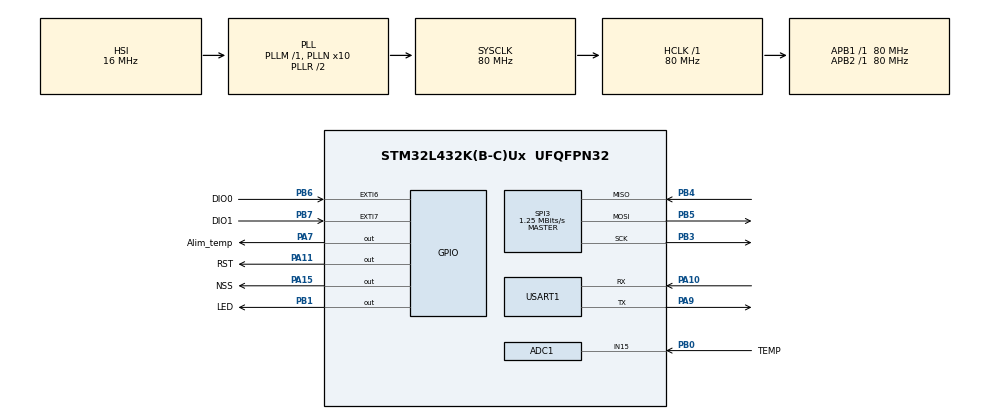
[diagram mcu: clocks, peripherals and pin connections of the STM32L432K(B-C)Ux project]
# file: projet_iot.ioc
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ADC1.Channel-0\#ChannelRegularConversion=ADC_CHANNEL_15
ADC1.NbrOfConversionFlag=1
ADC1.OffsetNumber-0\#ChannelRegularConversion=ADC_OFFSET_NONE
ADC1.Rank-0\#ChannelRegularConversion=1
ADC1.SamplingTime-0\#ChannelRegularConversion=ADC_SAMPLETIME_640CYCLES_5
ADC1.master=1
Mcu.Family=STM32L4
Mcu.Name=STM32L432K(B-C)Ux
Mcu.Package=UFQFPN32
NVIC.ADC1_IRQn=true\:0\:0\:false\:false\:true\:true\:true\:true
NVIC.EXTI9_5_IRQn=true\:0\:0\:false\:false\:true\:true\:true\:true
NVIC.PriorityGroup=NVIC_PRIORITYGROUP_4
NVIC.TIM7_IRQn=true\:0\:0\:false\:false\:true\:true\:true\:true
PA10.Mode=Asynchronous
PA10.Signal=USART1_RX
PA11.GPIO_Label=RST
PA11.Signal=GPIO_Output
PA13\ (JTMS-SWDIO).Mode=Serial_Wire
PA13\ (JTMS-SWDIO).Signal=SYS_JTMS-SWDIO
PA14\ (JTCK-SWCLK).Mode=Serial_Wire
PA14\ (JTCK-SWCLK).Signal=SYS_JTCK-SWCLK
PA15\ (JTDI).GPIO_Label=NSS
PA15\ (JTDI).Signal=GPIO_Output
PA7.GPIO_Label=Alim_temp
PA7.PinState=GPIO_PIN_SET
PA7.Signal=GPIO_Output
PA9.Mode=Asynchronous
PA9.Signal=USART1_TX
PB0.GPIO_Label=TEMP
PB0.Signal=ADCx_IN15
PB1.GPIO_Label=LED
PB1.Signal=GPIO_Output
PB3\ (JTDO-TRACESWO).Mode=Full_Duplex_Master
PB3\ (JTDO-TRACESWO).Signal=SPI3_SCK
PB4\ (NJTRST).Mode=Full_Duplex_Master
PB4\ (NJTRST).Signal=SPI3_MISO
PB5.Mode=Full_Duplex_Master
PB5.Signal=SPI3_MOSI
PB6.GPIO_Label=DIO0
PB6.Signal=GPXTI6
PB7.GPIO_Label=DIO1
PB7.Signal=GPXTI7
PC14-OSC32_IN\ (PC14).Mode=LSE-External-Oscillator
PC14-OSC32_IN\ (PC14).Signal=RCC_OSC32_IN
PC15-OSC32_OUT\ (PC15).Mode=LSE-External-Oscillator
PC15-OSC32_OUT\ (PC15).Signal=RCC_OSC32_OUT
ProjectManager.HeapSize=0x200
ProjectManager.StackSize=0x400
ProjectManager.TargetToolchain=STM32CubeIDE
RCC.ADCFreq_Value=64000000
RCC.AHBFreq_Value=80000000
RCC.APB1Freq_Value=80000000
RCC.APB1TimFreq_Value=80000000
RCC.APB2Freq_Value=80000000
RCC.APB2TimFreq_Value=80000000
RCC.CortexFreq_Value=80000000
RCC.HCLKFreq_Value=80000000
RCC.HSE_VALUE=8000000
RCC.HSI48_VALUE=48000000
RCC.HSI_VALUE=16000000
RCC.MSI_VALUE=4000000
RCC.PLLN=10
RCC.PLLSourceVirtual=RCC_PLLSOURCE_HSI
RCC.SYSCLKFreq_VALUE=80000000
RCC.SYSCLKSource=RCC_SYSCLKSOURCE_PLLCLK
RCC.USBFreq_Value=64000000
RCC.VCOOutputFreq_Value=160000000
SH.ADCx_IN15.0=ADC1_IN15,IN15-Single-Ended
SPI3.BaudRatePrescaler=SPI_BAUDRATEPRESCALER_64
SPI3.CalculateBaudRate=1.25 MBits/s
SPI3.DataSize=SPI_DATASIZE_8BIT
SPI3.Direction=SPI_DIRECTION_2LINES
SPI3.Mode=SPI_MODE_MASTER
SPI3.VirtualType=VM_MASTER
TIM7.Period=65535
TIM7.Prescaler=2500-1
USART1.VirtualMode-Asynchronous=VM_ASYNC
VP_TIM7_VS_ClockSourceINT.Mode=Enable_Timer
board=custom

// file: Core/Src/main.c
/* USER CODE BEGIN Header */
/**
 ******************************************************************************
 * @file           : main.c
 * @brief          : Main program body
 ******************************************************************************
 * @attention
 *
 * Copyright (c) 2024 STMicroelectronics.
 * All rights reserved.
 *
 * This software is licensed under terms that can be found in the LICENSE file
 * in the root directory of this software component.
 * If no LICENSE file comes with this software, it is provided AS-IS.
 *
 ******************************************************************************
 */
/* USER CODE END Header */
#include "main.h"
#include "adc.h"
#include "spi.h"
#include "tim.h"
#include "usart.h"
#include "gpio.h"

/* USER CODE BEGIN Includes */
#include "hal.h"
#include "oslmic.h"
#include "lmic.h"
#include "lorabase.h"
#include "cayenne_lpp.h"
#include "debug.h"
/* USER CODE END Includes */

/* USER CODE BEGIN PD */
#define ADC_MAX_RESOLUTION 4095 // Résolution maximale de l'ADC (12 bits)
#define ADC_VREF_MV 3300       // Référence de tension (en mV)
/* USER CODE END PD */

/* USER CODE BEGIN PV */
u2_t val;
uint32_t adc_val = 0;
// application router ID (LSBF) < ------- IMPORTANT
static const u1_t APPEUI[8] = {0x00, 0x00, 0x00, 0x00, 0x00, 0x00, 0x00, 0x00} ;
// unique device ID (LSBF) < ------- IMPORTANT
static const u1_t DEVEUI[8] = {0xFB, 0xC8, 0x06, 0xD0, 0x7E, 0xD5, 0xB3, 0x70};
// device-specific AES key (derived from device EUI (MSBF))
static const u1_t DEVKEY[16] = {0x79, 0xA9, 0xBA, 0x00, 0x1C, 0xA3, 0x83, 0x85, 0x8F, 0x6F, 0x0C, 0x9C, 0x3F, 0x3A, 0xFB, 0x0C};
/* USER CODE END PV */

void SystemClock_Config(void);
/* USER CODE BEGIN PFP */
uint32_t get_ADC_value(ADC_HandleTypeDef hadc1, uint32_t channel);
double GET_temperature( uint32_t ADC_value, double VDD);
/* USER CODE END PFP */

/* USER CODE BEGIN 0 */

/* USER CODE BEGIN 0 */
// provide application router ID (8 bytes, LSBF)
void os_getArtEui (u1_t* buf) {
	memcpy(buf, APPEUI, 8);
}
// provide device ID (8 bytes, LSBF)
void os_getDevEui (u1_t* buf) {
	memcpy(buf, DEVEUI, 8);
}
// provide device key (16 bytes)
void os_getDevKey (u1_t* buf) {
	memcpy(buf, DEVKEY, 16);
}
void initsensor(){
	// Here you init your sensors
}

void initfunc (osjob_t* j) {
	// intialize sensor hardware
	initsensor();
	// reset MAC state
	LMIC_reset();
	// start joining
	LMIC_startJoining();
	// init done - onEvent() callback will be invoked...
}

static osjob_t reportjob;
// report sensor value every minute
static void reportfunc(osjob_t* j) {

    //uint16_t voltage_mv = (uint16_t)(voltage * 1000); // Convert to millivolts
    //LMIC.frame[0] = (voltage_mv >> 8) & 0xFF;        // Octet supérieur
    //LMIC.frame[1] = voltage_mv & 0xFF;               // Octet inférieur

    //LMIC_setTxData2(1, LMIC.frame, 2, 0);            // Transmit via LoRa
    //os_setTimedCallback(j, os_getTime() + sec2osticks(15), reportfunc);

	double temperature_sensor_val = 25.0;
	cayenne_lpp_t lpp = { 0 };

	HAL_GPIO_WritePin(Alim_temp_GPIO_Port, Alim_temp_Pin, GPIO_PIN_SET);
	HAL_Delay(100);

	temperature_sensor_val = GET_temperature(get_ADC_value(hadc1, ADC_CHANNEL_15), ADC_VREF_MV);

	debug_valfloat("Temperature Sensor value = ", temperature_sensor_val, 6);

	HAL_GPIO_WritePin(Alim_temp_GPIO_Port, Alim_temp_Pin, GPIO_PIN_RESET);
	HAL_Delay(100);

	cayenne_lpp_reset(&lpp);
	cayenne_lpp_add_temperature(&lpp, 0, temperature_sensor_val);

	LMIC_setTxData2(1, &lpp, 4, 0);

	os_setTimedCallback(j, os_getTime()+sec2osticks(10), reportfunc);

}

uint32_t get_ADC_value(ADC_HandleTypeDef hadc1, uint32_t channel){

	HAL_ADCEx_Calibration_Start(&hadc1, ADC_SINGLE_ENDED);
	HAL_ADC_Start(&hadc1);
	HAL_ADC_PollForConversion(&hadc1, 100);
	adc_val = HAL_ADC_GetValue(&hadc1);

	return adc_val;

}

double GET_temperature( uint32_t ADC_value, double VDD) {

	double TEMP_value = 0.0;
	double voltage = 0.0;
	voltage = (ADC_value*VDD)/ADC_MAX_RESOLUTION;
	TEMP_value = (1034-voltage)/5.48;

	return TEMP_value;
}

static osjob_t blinkjob;
static u1_t ledstate = 0;
static void blinkfunc (osjob_t* j) {
	// toggle LED
	ledstate = !ledstate;
	debug_led(ledstate);
	// reschedule blink job
	os_setTimedCallback(j, os_getTime()+ms2osticks(100), blinkfunc);
}

//////////////////////////////////////////////////
// LMIC EVENT CALLBACK
//////////////////////////////////////////////////
void onEvent (ev_t ev) {
	debug_event(ev);
	switch(ev) {
	// network joined, session established
	case EV_JOINING:
		debug_str("try joining\r\n");
		blinkfunc(&blinkjob);
		break;
	case EV_JOINED:
		// kick-off periodic sensor job
		reportfunc(&reportjob);
		debug_led(1);
		break;
	case EV_JOIN_FAILED:
		debug_str("join failed\r\n");
		break;
	case EV_SCAN_TIMEOUT:
		debug_str("EV_SCAN_TIMEOUT\r\n");
		break;
	case EV_BEACON_FOUND:
		debug_str("EV_BEACON_FOUND\r\n");
		break;
	case EV_BEACON_MISSED:
		debug_str("EV_BEACON_MISSED\r\n");
		break;
	case EV_BEACON_TRACKED:
		debug_str("EV_BEACON_TRACKED\r\n");
		break;
	case EV_RFU1:
		debug_str("EV_RFU1\r\n");
		break;
	case EV_REJOIN_FAILED:
		debug_str("EV_REJOIN_FAILED\r\n");
		break;
	case EV_TXCOMPLETE:
		debug_str("EV_TXCOMPLETE (includes waiting for RX windows)\r\n");
		if (LMIC.txrxFlags & TXRX_ACK)
			debug_str("Received ack\r\n");
		if (LMIC.dataLen) {
			debug_str("Received ");
			debug_str(LMIC.dataLen);
			debug_str(" bytes of payload\r\n");
		}
		break;
	case EV_LOST_TSYNC:
		debug_str("EV_LOST_TSYNC\r\n");
		break;
	case EV_RESET:
		debug_str("EV_RESET\r\n");
		break;
	case EV_RXCOMPLETE:
		// data received in ping slot
		debug_str("EV_RXCOMPLETE\r\n");
		break;
	case EV_LINK_DEAD:
		debug_str("EV_LINK_DEAD\r\n");
		break;
	case EV_LINK_ALIVE:
		debug_str("EV_LINK_ALIVE\r\n");
		break;
	default:
		debug_str("Unknown event\r\n");
		break;
	}
}
/* USER CODE END 0 */

int main(void)
{

  /* MCU Configuration--------------------------------------------------------*/

  /* Reset of all peripherals, Initializes the Flash interface and the Systick. */
  HAL_Init();

  /* Configure the system clock */
  SystemClock_Config();

  /* Initialize all configured peripherals */
  MX_GPIO_Init();
  MX_TIM7_Init();
  MX_SPI3_Init();
  MX_USART1_UART_Init();
  MX_ADC1_Init();
  /* USER CODE BEGIN 2 */
	HAL_TIM_Base_Start_IT(&htim7);
	__HAL_SPI_ENABLE(&hspi3);
	osjob_t initjob;
	// initialize runtime env
	os_init();
	// initialize debug library
	debug_init();
	// setup initial job
	os_setCallback(&initjob, initfunc);
	// execute scheduled jobs and events
	os_runloop();
	// (not reached)
	return 0;
  /* USER CODE END 2 */

  /* Infinite loop */
	while (1)
	{

		}
}

void SystemClock_Config(void)
{
  RCC_OscInitTypeDef RCC_OscInitStruct = {0};
  RCC_ClkInitTypeDef RCC_ClkInitStruct = {0};

  /** Configure the main internal regulator output voltage
  */
  if (HAL_PWREx_ControlVoltageScaling(PWR_REGULATOR_VOLTAGE_SCALE1) != HAL_OK)
  {
    Error_Handler();
  }

  /** Initializes the RCC Oscillators according to the specified parameters
  * in the RCC_OscInitTypeDef structure.
  */
  RCC_OscInitStruct.OscillatorType = RCC_OSCILLATORTYPE_HSI;
  RCC_OscInitStruct.HSIState = RCC_HSI_ON;
  RCC_OscInitStruct.HSICalibrationValue = RCC_HSICALIBRATION_DEFAULT;
  RCC_OscInitStruct.PLL.PLLState = RCC_PLL_ON;
  RCC_OscInitStruct.PLL.PLLSource = RCC_PLLSOURCE_HSI;
  RCC_OscInitStruct.PLL.PLLM = 1;
  RCC_OscInitStruct.PLL.PLLN = 10;
  RCC_OscInitStruct.PLL.PLLP = RCC_PLLP_DIV7;
  RCC_OscInitStruct.PLL.PLLQ = RCC_PLLQ_DIV2;
  RCC_OscInitStruct.PLL.PLLR = RCC_PLLR_DIV2;
  if (HAL_RCC_OscConfig(&RCC_OscInitStruct) != HAL_OK)
  {
    Error_Handler();
  }

  /** Initializes the CPU, AHB and APB buses clocks
  */
  RCC_ClkInitStruct.ClockType = RCC_CLOCKTYPE_HCLK|RCC_CLOCKTYPE_SYSCLK
                              |RCC_CLOCKTYPE_PCLK1|RCC_CLOCKTYPE_PCLK2;
  RCC_ClkInitStruct.SYSCLKSource = RCC_SYSCLKSOURCE_PLLCLK;
  RCC_ClkInitStruct.AHBCLKDivider = RCC_SYSCLK_DIV1;
  RCC_ClkInitStruct.APB1CLKDivider = RCC_HCLK_DIV1;
  RCC_ClkInitStruct.APB2CLKDivider = RCC_HCLK_DIV1;

  if (HAL_RCC_ClockConfig(&RCC_ClkInitStruct, FLASH_LATENCY_4) != HAL_OK)
  {
    Error_Handler();
  }
}

void Error_Handler(void)
{
		__disable_irq();
		while (1)
		{
		}
}
